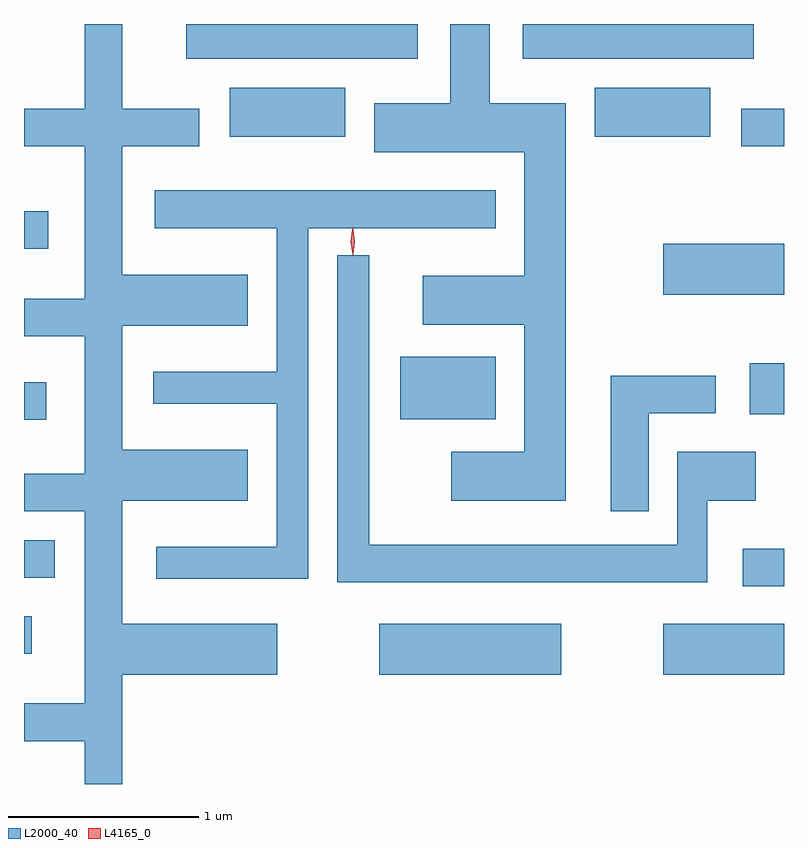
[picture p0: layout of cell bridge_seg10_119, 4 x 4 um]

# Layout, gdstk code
import gdstk
lib = gdstk.Library(unit=1e-6, precision=1e-09)
def R(c, l, rs):  # rectangles x0, y0, x1, y1
    for r in rs: c.add(gdstk.rectangle(r[:2], r[2:], *l))
def P(c, l, *ps):  # polygons
    for p in ps: c.add(gdstk.Polygon(p, *l))
L2000_40 = (2000, 40)
L4165_0 = (4165, 0)

bridge_seg10_119 = lib.new_cell('bridge_seg10_119')
R(bridge_seg10_119, L2000_40, [(1634.981,2139.966,1635.939,2140.234), (1636.476,2139.966,1637.112,2140.234), (1633.112,2140.076,1633.154,2140.274), (1636.896,2140.431,1637.112,2140.629), (1633.112,2140.476,1633.274,2140.674), (1633.112,2141.306,1633.229,2141.504), (1635.091,2141.311,1635.594,2141.639), (1636.931,2141.336,1637.112,2141.604), (1636.476,2141.966,1637.112,2142.234), (1633.112,2142.206,1633.239,2142.404), (1636.886,2142.746,1637.112,2142.944), (1634.196,2142.796,1634.804,2143.054), (1636.116,2142.796,1636.724,2143.054), (1633.966,2143.206,1635.184,2143.39), (1635.736,2143.206,1636.954,2143.39)])
P(bridge_seg10_119, L2000_40, [(1635.964,2142.974),(1635.564,2142.974),(1635.564,2143.39),(1635.356,2143.39),(1635.356,2142.974),(1634.956,2142.974),(1634.956,2142.716),(1635.746,2142.716),(1635.746,2142.064),(1635.211,2142.064),(1635.211,2141.806),(1635.746,2141.806),(1635.746,2141.139),(1635.361,2141.139),(1635.361,2140.881),(1635.964,2140.881)],
  [(1633.629,2139.966),(1634.444,2139.966),(1634.444,2140.234),(1633.629,2140.234),(1633.629,2140.881),(1634.289,2140.881),(1634.289,2141.149),(1633.629,2141.149),(1633.629,2141.801),(1634.289,2141.801),(1634.289,2142.069),(1633.629,2142.069),(1633.629,2142.746),(1634.034,2142.746),(1634.034,2142.944),(1633.629,2142.944),(1633.629,2143.39),(1633.431,2143.39),(1633.431,2142.944),(1633.112,2142.944),(1633.112,2142.746),(1633.431,2142.746),(1633.431,2141.944),(1633.112,2141.944),(1633.112,2141.746),(1633.431,2141.746),(1633.431,2141.024),(1633.112,2141.024),(1633.112,2140.826),(1633.431,2140.826),(1633.431,2139.814),(1633.112,2139.814),(1633.112,2139.616),(1633.431,2139.616),(1633.431,2139.39),(1633.629,2139.39)],
  [(1634.609,2142.316),(1635.594,2142.316),(1635.594,2142.514),(1633.801,2142.514),(1633.801,2142.316),(1634.441,2142.316),(1634.441,2141.559),(1633.793,2141.559),(1633.793,2141.391),(1634.441,2141.391),(1634.441,2140.639),(1633.808,2140.639),(1633.808,2140.471),(1634.609,2140.471)],
  [(1636.709,2140.881),(1636.964,2140.881),(1636.964,2141.139),(1636.551,2141.139),(1636.551,2140.649),(1634.929,2140.649),(1634.929,2142.173),(1634.761,2142.173),(1634.761,2140.451),(1636.709,2140.451)],
  [(1636.399,2141.341),(1636.754,2141.341),(1636.754,2141.539),(1636.201,2141.539),(1636.201,2140.826),(1636.399,2140.826)])
P(bridge_seg10_119, L4165_0, [(1634.843,2142.174),(1634.843,2142.175),(1634.833,2142.244),(1634.843,2142.313),(1634.843,2142.314),(1634.844,2142.313),(1634.853,2142.244),(1634.844,2142.175)],
  [(1634.841,2142.178),(1634.841,2142.178),(1634.831,2142.244),(1634.84,2142.31),(1634.841,2142.311),(1634.841,2142.31),(1634.851,2142.244),(1634.842,2142.178)])

lib.write_gds('bridge_seg10_119.gds')
